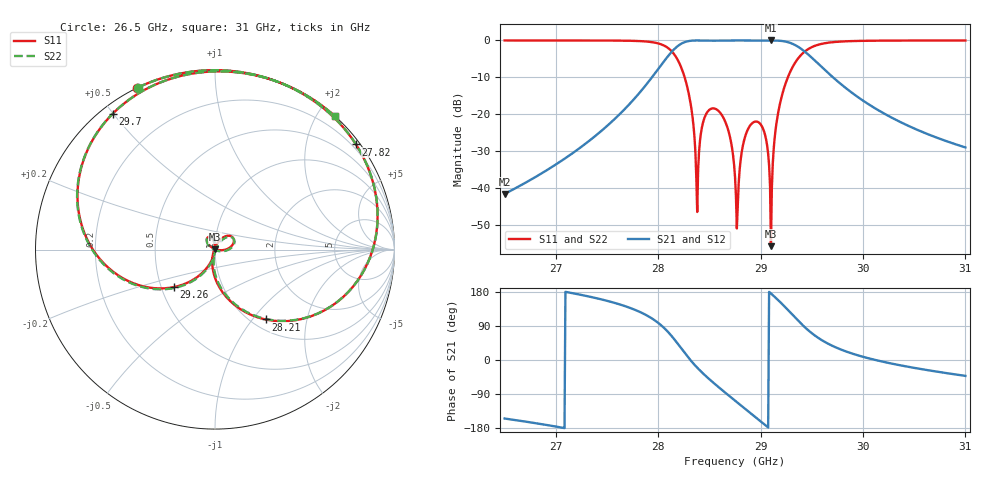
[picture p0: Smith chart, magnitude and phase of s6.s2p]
! Touchstone file from project Ka_PF
! Exported from HFSS 15.0.0
! Variables:
!  AA = 0.34in
!  BB = 0.145in
!  M01 = 0.1679in
!  M11 = 0.2102in
!  M12 = 0.116in
!  M22 = 0.2336in
!  PL = 0.3in
!  RR = 0.035in
!  TT = 0.04in
!Data is not renormalized
# GHZ S DB
! Modal data exported
! Port[1] = 1:1
! Port[2] = 2:1
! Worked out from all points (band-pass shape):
!   501 points, 26.5 GHz to 31 GHz, reference per port
!   highest |S21| = 0.00 dB at 29.1 GHz (marker M1); lowest = -41.6 dB at 26.5 GHz (marker M2)
!   |S21| within 3 dB of the highest: 28.13 GHz to 29.43 GHz (1.296 GHz wide, 4.5 % of centre)
!   lowest |S11| = -55.8 dB at 29.1 GHz (marker M3), VSWR 1.00
!   |S11| at or under -10 dB: 28.26 GHz to 29.27 GHz (1.008 GHz wide, 3.5 % of centre)
!   |S22| runs from -55.7 to 0.0 dB; largest |S21 - S12| = 2.5e-14
!   S11 on the Smith chart (normalised r, x): 26.5 GHz: 0.00, +0.63; 27.82 GHz: 0.10, +3.01; 28.21 GHz: 1.15, -1.17; 29.26 GHz: 0.58, -0.27; 29.7 GHz: 0.03, +0.50; 31 GHz: 0.00, +2.24
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26.5  -0.00 115.8  -41.61 -154.4  -41.61 -154.4  -0.00 115.5
! Gamma ! -0 419.682060555941 -0 419.682047173974
! Port Impedance 262.308282510268 0 262.300618034611 0
27.256  -0.01 81.6  -28.71 171.4  -28.71 171.4  -0.01 81.2
27.823  -0.18 36.7  -14.01 126.6  -14.01 126.6  -0.18 36.4
28.003  -0.82 7.4  -7.63 97.3  -7.63 97.3  -0.82 7.3
28.21  -6.37 -54.1  -1.14 36.1  -1.14 36.1  -6.37 -53.7
28.318  -17.38 -92.8  -0.08 -1.3  -0.08 -1.3  -17.38 -89.8
28.381  -46.50 128.5  -0.00 -20.2  -0.00 -20.2  -46.50 11.0
28.444  -21.64 55.8  -0.03 -37.1  -0.03 -37.1  -21.64 50.0
28.552  -18.48 28.9  -0.06 -63.0  -0.06 -63.0  -18.48 25.0
28.687  -24.63 -0.1  -0.01 -93.4  -0.01 -93.4  -24.63 -6.6
28.75  -36.91 -6.2  -0.00 -107.2  -0.00 -107.2  -36.91 -28.3
28.777  -44.95 131.0  -0.00 -113.1  -0.00 -113.1  -44.95 -177.3
28.84  -26.96 140.9  -0.01 -126.8  -0.01 -126.8  -26.96 145.5
28.957  -21.98 117.7  -0.03 -152.0  -0.03 -152.0  -21.98 118.3
29.047  -25.99 98.9  -0.01 -171.9  -0.01 -171.9  -25.99 97.3
29.101  -55.78 141.5  -0.00 175.5  -0.00 175.5  -55.72 29.3
29.164  -20.78 -111.4  -0.04 159.9  -0.04 159.9  -20.78 -108.7
29.263  -10.21 -137.5  -0.43 133.1  -0.43 133.1  -10.21 -136.3
29.506  -1.73 159.3  -4.83 69.5  -4.83 69.5  -1.73 159.7
29.704  -0.47 126.9  -9.93 37.0  -9.93 37.0  -0.47 127.1
30.253  -0.04 82.0  -20.53 -8.0  -20.53 -8.0  -0.04 82.0
31  -0.01 48.1  -29.01 -41.9  -29.01 -41.9  -0.01 48.0
